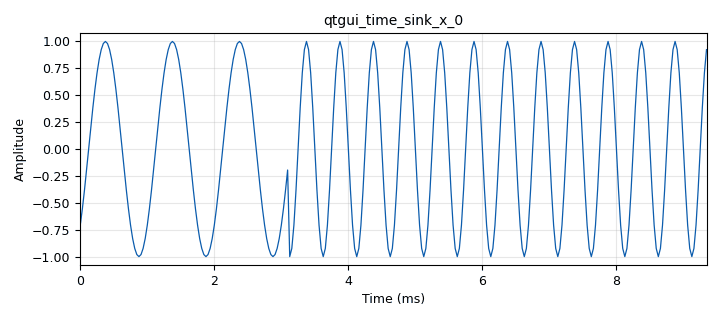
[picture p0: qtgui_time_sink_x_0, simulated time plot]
options:
  parameters:
    author: JuanD
    generate_options: qt_gui
    id: fsktest
    output_language: python
    title: Not titled yet
  states: {}

blocks:
- name: samp_rate
  id: variable
  parameters:
    value: '32000'
  states: {}
- name: analog_const_source_x_0
  id: analog_const_source_x
  parameters:
    const: '1'
    type: float
  states: {}
- name: analog_const_source_x_0_0
  id: analog_const_source_x
  parameters:
    const: '0'
    type: float
  states: {}
- name: analog_random_source_x_0
  id: analog_random_source_x
  parameters:
    max: '2'
    min: '0'
    num_samps: '1000'
    repeat: 'True'
    type: byte
  states: {}
- name: analog_sig_source_x_0
  id: analog_sig_source_x
  parameters:
    amp: '1'
    freq: '1000'
    offset: '0'
    phase: '0'
    samp_rate: samp_rate
    type: float
    waveform: analog.GR_COS_WAVE
  states: {}
- name: analog_sig_source_x_0_0
  id: analog_sig_source_x
  parameters:
    amp: '1'
    freq: 2e3
    offset: '0'
    phase: '0'
    samp_rate: samp_rate
    type: float
    waveform: analog.GR_COS_WAVE
  states: {}
- name: blocks_add_xx_0
  id: blocks_add_xx
  parameters:
    type: float
  states: {}
- name: blocks_char_to_float_0
  id: blocks_char_to_float
  parameters:
    scale: '1'
  states: {}
- name: blocks_float_to_complex_0
  id: blocks_float_to_complex
  parameters: {}
  states: {}
- name: blocks_multiply_xx_0
  id: blocks_multiply_xx
  parameters:
    type: float
  states: {}
- name: blocks_multiply_xx_0_0
  id: blocks_multiply_xx
  parameters:
    type: float
  states: {}
- name: blocks_repeat_0
  id: blocks_repeat
  parameters:
    interp: '100'
    type: byte
  states: {}
- name: blocks_sub_xx_0
  id: blocks_sub_xx
  parameters:
    type: float
  states: {}
- name: osmosdr_sink_0
  id: osmosdr_sink
  parameters:
    bb_gain0: '20'
    freq0: 150e6
    gain0: '10'
    if_gain0: '20'
    sample_rate: samp_rate*50
    sync: sync
    type: fc32
  states: {}
- name: qtgui_time_sink_x_0
  id: qtgui_time_sink_x
  parameters:
    size: '300'
    srate: samp_rate
    type: float
  states: {}
- name: rational_resampler_xxx_0
  id: rational_resampler_xxx
  parameters:
    decim: '1'
    interp: '50'
    taps: ''
    type: ccc
  states: {}

connections:
- [analog_const_source_x_0, '0', blocks_sub_xx_0, '0']
- [analog_const_source_x_0_0, '0', blocks_float_to_complex_0, '1']
- [analog_random_source_x_0, '0', blocks_repeat_0, '0']
- [analog_sig_source_x_0, '0', blocks_multiply_xx_0, '1']
- [analog_sig_source_x_0_0, '0', blocks_multiply_xx_0_0, '0']
- [blocks_add_xx_0, '0', blocks_float_to_complex_0, '0']
- [blocks_add_xx_0, '0', qtgui_time_sink_x_0, '0']
- [blocks_char_to_float_0, '0', blocks_multiply_xx_0_0, '1']
- [blocks_char_to_float_0, '0', blocks_sub_xx_0, '1']
- [blocks_float_to_complex_0, '0', rational_resampler_xxx_0, '0']
- [blocks_multiply_xx_0, '0', blocks_add_xx_0, '1']
- [blocks_multiply_xx_0_0, '0', blocks_add_xx_0, '0']
- [blocks_repeat_0, '0', blocks_char_to_float_0, '0']
- [blocks_sub_xx_0, '0', blocks_multiply_xx_0, '0']
- [rational_resampler_xxx_0, '0', osmosdr_sink_0, '0']

metadata:
  file_format: 1
